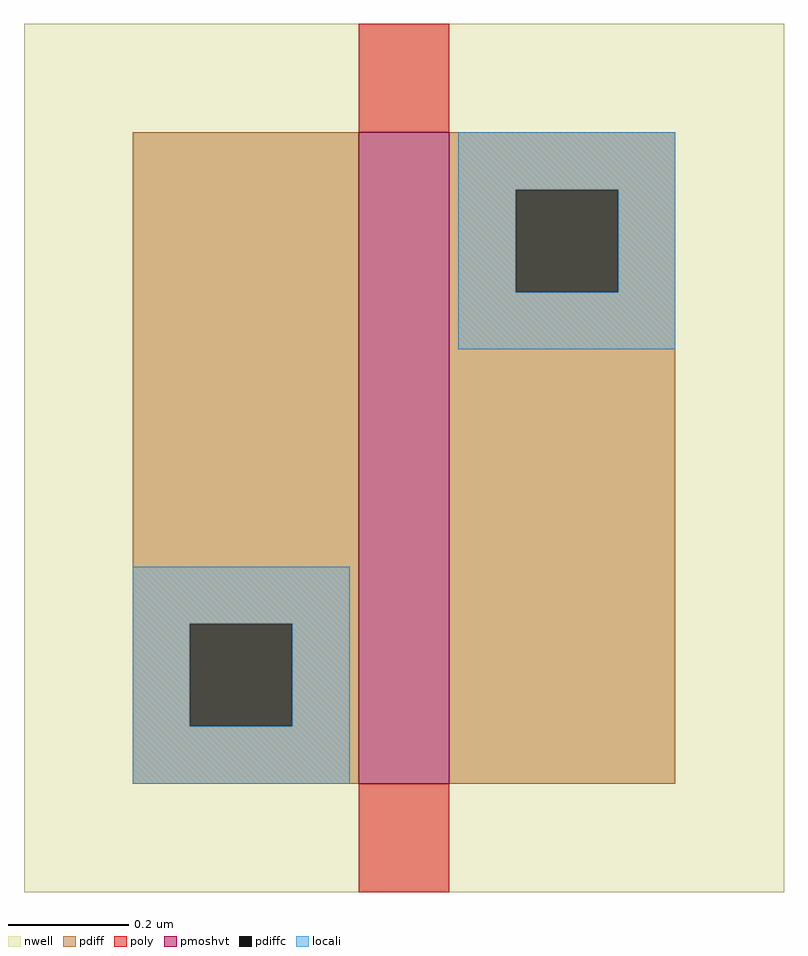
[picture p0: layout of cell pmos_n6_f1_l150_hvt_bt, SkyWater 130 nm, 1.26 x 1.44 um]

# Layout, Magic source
magic
tech sky130A
magscale 1 2
<< nwell >>
rect -72 -36 180 252
<< pmoshvt >>
rect 39 0 69 216
<< pdiff >>
rect -36 53 39 216
rect -36 19 -17 53
rect 17 19 39 53
rect -36 0 39 19
rect 69 197 144 216
rect 69 163 91 197
rect 125 163 144 197
rect 69 0 144 163
<< pdiffc >>
rect -17 19 17 53
rect 91 163 125 197
<< poly >>
rect 39 216 69 252
rect 39 -36 69 0
<< locali >>
rect 72 197 144 216
rect 72 163 91 197
rect 125 163 144 197
rect 72 144 144 163
rect -36 53 36 72
rect -36 19 -17 53
rect 17 19 36 53
rect -36 0 36 19
<< end >>
